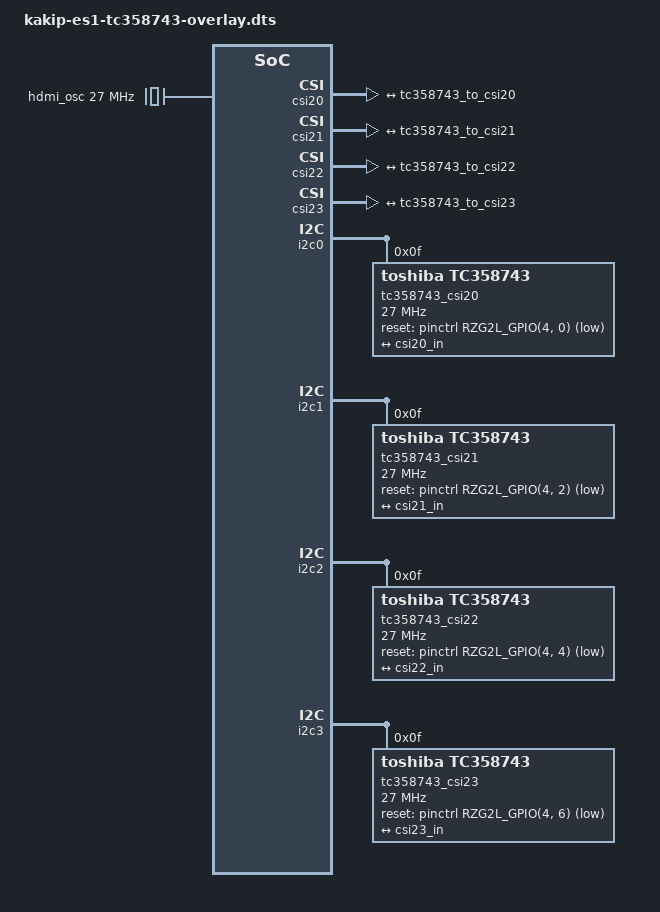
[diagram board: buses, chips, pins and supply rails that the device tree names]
// SPDX-License-Identifier: (GPL-2.0-only OR BSD-2-Clause)
/*
 * Device Tree Source for the Kakip ES 1 board
 *
 * Copyright (C) 2025 AMATAMA Co.
 */

/dts-v1/;
/plugin/;

#include <dt-bindings/pinctrl/rzg2l-pinctrl.h>
#include <dt-bindings/gpio/gpio.h>

/ {
	fragment@1 {
		target = <&csi20>;

		__overlay__ {
			status = "okay";

			ports {
				port@2 {
					csi20_in: endpoint {
						clock-lanes = <0>;
						data-lanes = <1 2 3 4>;
						remote-endpoint = <&tc358743_to_csi20>;
					};
				};
			};
		};
	};

	fragment@2 {
		target = <&csi21>;

		__overlay__ {
			status = "okay";

			ports {
				port@2 {
					csi21_in: endpoint {
						clock-lanes = <0>;
						data-lanes = <1 2 3 4>;
						remote-endpoint = <&tc358743_to_csi21>;
					};
				};
			};
		};
	};

	fragment@3 {
		target = <&csi22>;

		__overlay__ {
			status = "okay";

			ports {
				port@2 {
					csi22_in: endpoint {
						clock-lanes = <0>;
						data-lanes = <1 2 3 4>;
						remote-endpoint = <&tc358743_to_csi22>;
					};
				};
			};
		};
	};

	fragment@4 {
		target = <&csi23>;

		__overlay__ {
			status = "okay";

			ports {
				port@2 {
					csi23_in: endpoint {
						clock-lanes = <0>;
						data-lanes = <1 2 3 4>;
						remote-endpoint = <&tc358743_to_csi23>;
					};
				};
			};
		};
	};

	fragment@10 {
		target = <&i2c0>;

		__overlay__ {
			#address-cells = <1>;
			#size-cells = <0>;
			status = "okay";

			tc358743_csi20: tc358743_csi20@f {
				compatible = "toshiba,tc358743";
				reg = <0x0f>;
				status = "okay";

				clocks = <&hdmi_osc>;
				clock-names = "refclk";
				clock-frequency = <27000000>;
				reset-gpios = <&pinctrl RZG2L_GPIO(4, 0) GPIO_ACTIVE_LOW>;

				port {
					tc358743_to_csi20: endpoint {
						remote-endpoint = <&csi20_in>;
						data-lanes = <1 2 3 4>;
						clock-lanes = <0>;
						clock-noncontinuous;
						link-frequencies = /bits/ 64 <445500000>;
					};
				};
			};
		};
	};

	fragment@20 {
		target = <&i2c1>;

		__overlay__ {
			#address-cells = <1>;
			#size-cells = <0>;
			status = "okay";

			tc358743_csi21: tc358743_csi21@f {
				compatible = "toshiba,tc358743";
				reg = <0x0f>;
				status = "okay";

				clocks = <&hdmi_osc>;
				clock-names = "refclk";
				clock-frequency = <27000000>;
				reset-gpios = <&pinctrl RZG2L_GPIO(4, 2) GPIO_ACTIVE_LOW>;

				port {
					tc358743_to_csi21: endpoint {
						remote-endpoint = <&csi21_in>;
						data-lanes = <1 2 3 4>;
						clock-lanes = <0>;
						clock-noncontinuous;
						link-frequencies = /bits/ 64 <445500000>;
					};
				};
			};
		};
	};

	fragment@30 {
		target = <&i2c2>;

		__overlay__ {
			#address-cells = <1>;
			#size-cells = <0>;
			status = "okay";

			tc358743_csi22: tc358743_csi22@f {
				compatible = "toshiba,tc358743";
				reg = <0x0f>;
				status = "okay";

				clocks = <&hdmi_osc>;
				clock-names = "refclk";
				clock-frequency = <27000000>;
				reset-gpios = <&pinctrl RZG2L_GPIO(4, 4) GPIO_ACTIVE_LOW>;

				port {
					tc358743_to_csi22: endpoint {
						remote-endpoint = <&csi22_in>;
						data-lanes = <1 2 3 4>;
						clock-lanes = <0>;
						clock-noncontinuous;
						link-frequencies = /bits/ 64 <445500000>;
					};
				};
			};
		};
	};

	fragment@40 {
		target = <&i2c3>;

		__overlay__ {
			#address-cells = <1>;
			#size-cells = <0>;
			status = "okay";

			tc358743_csi23: tc358743_csi23@f {
				compatible = "toshiba,tc358743";
				reg = <0x0f>;
				status = "okay";

				clocks = <&hdmi_osc>;
				clock-names = "refclk";
				clock-frequency = <27000000>;
				reset-gpios = <&pinctrl RZG2L_GPIO(4, 6) GPIO_ACTIVE_LOW>;

				port {
					tc358743_to_csi23: endpoint {
						remote-endpoint = <&csi23_in>;
						data-lanes = <1 2 3 4>;
						clock-lanes = <0>;
						clock-noncontinuous;
						link-frequencies = /bits/ 64 <445500000>;
					};
				};
			};
		};
	};
};

&{/} {
	hdmi_osc: hdmi_osc {
		compatible = "fixed-clock";
		clock-output-names = "hdmi_osc";
		clock-frequency = <27000000>;
		#clock-cells = <0>;
	};
};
